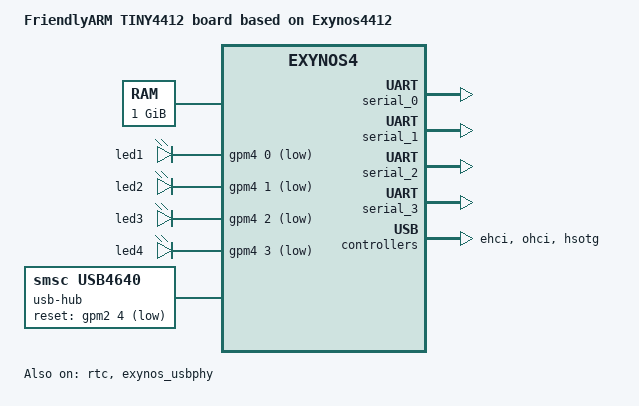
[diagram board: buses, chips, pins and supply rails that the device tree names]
/*
 * FriendlyARM's Exynos4412 based TINY4412 board device tree source
 *
 * Copyright (c) 2013 Alex Ling <kasimling@gmail.com>
 *
 * Device tree source file for FriendlyARM's TINY4412 board which is based on
 * Samsung's Exynos4412 SoC.
 *
 * This program is free software; you can redistribute it and/or modify
 * it under the terms of the GNU General Public License version 2 as
 * published by the Free Software Foundation.
*/

/dts-v1/;
#include "exynos4412.dtsi"
#include <dt-bindings/gpio/gpio.h>

// mz8023yt@163.com 20180321 begin >>> [1/11] add usb net driver
#include <dt-bindings/usb4640/usb4640.h>
// mz8023yt@163.com 20180321 end   <<< [1/11] add usb net driver

/ {
	model = "FriendlyARM TINY4412 board based on Exynos4412";
	compatible = "friendlyarm,tiny4412", "samsung,exynos4412", "samsung,exynos4";

	chosen {
		stdout-path = &serial_0;
// mz8023yt@163.com 20180321 begin >>> [2/11] add usb net driver
		bootargs = "root=/dev/ram0 rw rootfstype=ext4 console=ttySAC0,115200 ethmac=1C:6F:65:34:51:7E init=/linuxrc";
// mz8023yt@163.com 20180321 end   <<< [2/11] add usb net driver
	};

	memory {
		reg = <0x40000000 0x40000000>;
	};

	leds {
		compatible = "gpio-leds";

		led1 {
			label = "led1";
			gpios = <&gpm4 0 GPIO_ACTIVE_LOW>;
			default-state = "off";
			linux,default-trigger = "heartbeat";
		};

		led2 {
			label = "led2";
			gpios = <&gpm4 1 GPIO_ACTIVE_LOW>;
			default-state = "off";
		};

		led3 {
			label = "led3";
			gpios = <&gpm4 2 GPIO_ACTIVE_LOW>;
			default-state = "off";
		};

		led4 {
			label = "led4";
			gpios = <&gpm4 3 GPIO_ACTIVE_LOW>;
			default-state = "off";
			linux,default-trigger = "mmc0";
		};
	};

	fixed-rate-clocks {
		xxti {
			compatible = "samsung,clock-xxti";
			clock-frequency = <0>;
		};

		xusbxti {
			compatible = "samsung,clock-xusbxti";
			clock-frequency = <24000000>;
		};
	};

// mz8023yt@163.com 20180321 begin >>> [3/11] add usb net driver
	usb-hub {
		compatible = "smsc,usb4640";
		reset-gpios = <&gpm2 4 GPIO_ACTIVE_LOW>;
		initial-mode = <USB4640_MODE_HUB>;
	};
// mz8023yt@163.com 20180321 end   <<< [3/11] add usb net driver
};

&rtc {
	status = "okay";
};

&sdhci_2 {
	bus-width = <4>;
	pinctrl-0 = <&sd2_clk &sd2_cmd &sd2_cd &sd2_bus4>;
	pinctrl-names = "default";
// mz8023yt@163.com 20180321 begin >>> [1/1] disable sd controller
	status = "disabled";
// mz8023yt@163.com 20180321 end   <<< [1/1] disable sd controller
};

&serial_0 {
	status = "okay";
};

&serial_1 {
	status = "okay";
};

&serial_2 {
	status = "okay";
};

&serial_3 {
	status = "okay";
};

// mz8023yt@163.com 20180321 begin >>> [4/11] add usb net driver
&exynos_usbphy {
	status = "okay";
};

&ehci {
	status = "okay";
	port@0 {
		status = "okay";
	};

	port@1 {
		status = "okay";
	};

	port@2 {
		status = "okay";
	};
};

&ohci {
	status = "okay";
	port@0 {
		status = "okay";
	};
};

&hsotg {
	status = "okay";
};
// mz8023yt@163.com 20180321 end   <<< [4/11] add usb net driver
